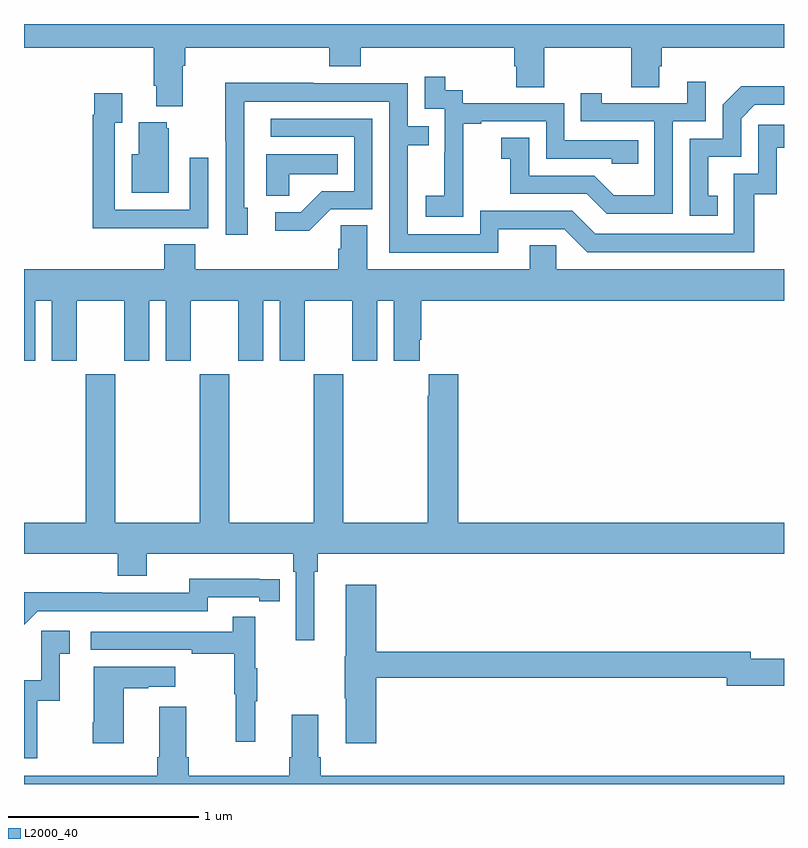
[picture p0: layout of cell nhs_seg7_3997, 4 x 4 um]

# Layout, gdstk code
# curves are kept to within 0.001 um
import gdstk
lib = gdstk.Library(unit=1e-6, precision=1e-09)
def P(c, l, *ps):  # polygons
    for p in ps: c.add(gdstk.Polygon(p, *l))
L2000_40 = (2000, 40)

nhs_seg7_3997 = lib.new_cell('nhs_seg7_3997')
P(nhs_seg7_3997, L2000_40, [(363,1073.876),(363.683,1073.876),(363.683,1073.674),(363.695,1073.674),(363.695,1073.567),(363.835,1073.567),(363.835,1073.78),(363.848,1073.78),(363.848,1073.876),(364.607,1073.876),(364.607,1073.777),(364.772,1073.777),(364.772,1073.876),(365.579,1073.876),(365.579,1073.778),(365.591,1073.778),(365.591,1073.668),(365.739,1073.668),(365.739,1073.876),(366.196,1073.876),(366.196,1073.668),(366.343,1073.668),(366.343,1073.778),(366.356,1073.778),(366.356,1073.876),(367,1073.876),(367,1074),(363,1074)],
  [(365.313,1073.191),(365.312,1073.191),(365.312,1073.475),(365.407,1073.475),(365.407,1073.487),(365.748,1073.487),(365.748,1073.292),(366.093,1073.292),(366.093,1073.265),(366.233,1073.265),(366.233,1073.388),(365.844,1073.388),(365.844,1073.583),(365.31,1073.583),(365.31,1073.652),(365.218,1073.652),(365.218,1073.722),(365.109,1073.722),(365.109,1073.553),(365.214,1073.553),(365.214,1073.324),(365.213,1073.324),(365.213,1073.095),(365.115,1073.095),(365.115,1072.985),(365.313,1072.985)],
  [(366.414,1073.487),(366.588,1073.487),(366.588,1073.695),(366.491,1073.695),(366.491,1073.583),(366.04,1073.583),(366.04,1073.635),(365.929,1073.635),(365.929,1073.487),(366.318,1073.487),(366.318,1073.098),(366.104,1073.098),(366,1073.202),(365.658,1073.202),(365.658,1073.401),(365.511,1073.401),(365.511,1073.291),(365.56,1073.291),(365.56,1073.106),(365.963,1073.106),(366.068,1073.001),(366.414,1073.001)],
  [(365.497,1072.92),(365.844,1072.92),(365.964,1072.8),(366.844,1072.8),(366.844,1073.103),(366.962,1073.103),(366.962,1073.349),(367,1073.349),(367,1073.47),(366.864,1073.47),(366.864,1073.211),(366.735,1073.211),(366.735,1072.896),(366.006,1072.896),(365.886,1073.016),(365.4,1073.016),(365.4,1072.893),(365.019,1072.893),(365.019,1073.362),(365.129,1073.362),(365.129,1073.463),(365.019,1073.463),(365.019,1073.688),(364.523,1073.688),(364.523,1073.69),(364.06,1073.69),(364.06,1073.383),(364.062,1073.383),(364.062,1072.89),(364.177,1072.89),(364.177,1073.034),(364.158,1073.034),(364.158,1073.592),(364.923,1073.592),(364.923,1072.797),(365.497,1072.797)],
  [(366.65,1073.097),(366.601,1073.097),(366.601,1073.301),(366.774,1073.301),(366.774,1073.502),(366.846,1073.574),(367,1073.574),(367,1073.672),(366.776,1073.672),(366.678,1073.574),(366.678,1073.397),(366.504,1073.397),(366.504,1072.992),(366.65,1072.992)],
  [(363.653,1072.926),(363.969,1072.926),(363.969,1073.296),(363.873,1073.296),(363.873,1073.022),(363.477,1073.022),(363.477,1073.479),(363.517,1073.479),(363.517,1073.635),(363.369,1073.635),(363.369,1073.522),(363.361,1073.522),(363.361,1072.925),(363.653,1072.925)],
  [(364.614,1073.025),(364.833,1073.025),(364.833,1073.502),(364.299,1073.502),(364.299,1073.406),(364.737,1073.406),(364.737,1073.121),(364.568,1073.121),(364.457,1073.01),(364.323,1073.01),(364.323,1072.913),(364.501,1072.913)],
  [(363.763,1073.451),(363.752,1073.451),(363.752,1073.482),(363.605,1073.482),(363.605,1073.314),(363.566,1073.314),(363.566,1073.111),(363.763,1073.111)],
  [(364.395,1073.21),(364.652,1073.21),(364.652,1073.314),(364.274,1073.314),(364.274,1073.095),(364.395,1073.095)],
  [(364.807,1072.94),(364.668,1072.94),(364.668,1072.817),(364.655,1072.817),(364.655,1072.708),(363.902,1072.708),(363.902,1072.841),(363.737,1072.841),(363.737,1072.708),(363,1072.708),(363,1072.227),(363.058,1072.227),(363.058,1072.544),(363.146,1072.544),(363.146,1072.227),(363.277,1072.227),(363.277,1072.544),(363.527,1072.544),(363.527,1072.227),(363.658,1072.227),(363.658,1072.544),(363.746,1072.544),(363.746,1072.227),(363.877,1072.227),(363.877,1072.544),(364.127,1072.544),(364.127,1072.227),(364.258,1072.227),(364.258,1072.544),(364.346,1072.544),(364.346,1072.227),(364.477,1072.227),(364.477,1072.544),(364.727,1072.544),(364.727,1072.227),(364.858,1072.227),(364.858,1072.544),(364.946,1072.544),(364.946,1072.227),(365.083,1072.227),(365.083,1072.339),(365.09,1072.339),(365.09,1072.544),(367,1072.544),(367,1072.708),(365.802,1072.708),(365.802,1072.835),(365.663,1072.835),(365.663,1072.708),(364.807,1072.708)],
  [(364.418,1071.116),(364.431,1071.116),(364.431,1070.757),(364.528,1070.757),(364.528,1071.116),(364.547,1071.116),(364.547,1071.212),(367,1071.212),(367,1071.376),(365.285,1071.376),(365.285,1072.156),(365.129,1072.156),(365.129,1072.043),(365.125,1072.043),(365.125,1071.376),(364.68,1071.376),(364.68,1072.156),(364.525,1072.156),(364.525,1071.376),(364.08,1071.376),(364.08,1072.156),(363.925,1072.156),(363.925,1071.376),(363.48,1071.376),(363.48,1072.156),(363.325,1072.156),(363.325,1071.376),(363,1071.376),(363,1071.212),(363.494,1071.212),(363.494,1071.095),(363.646,1071.095),(363.646,1071.212),(364.418,1071.212)],
  [(363.072,1070.91),(363.966,1070.91),(363.966,1070.982),(364.238,1070.982),(364.238,1070.962),(364.346,1070.962),(364.346,1071.078),(363.87,1071.079),(363.87,1071.006),(363.41,1071.006),(363.41,1071.008),(363.002,1071.008),(363,1071.006),(363,1070.838)],
  [(364.853,1070.56),(366.698,1070.56),(366.698,1070.518),(367,1070.518),(367,1070.66),(366.826,1070.66),(366.826,1070.696),(364.853,1070.696),(364.853,1071.049),(364.694,1071.049),(364.694,1070.673),(364.687,1070.673),(364.687,1070.452),(364.694,1070.452),(364.694,1070.214),(364.853,1070.214)],
  [(364.217,1070.435),(364.228,1070.435),(364.228,1070.609),(364.217,1070.609),(364.217,1070.881),(364.099,1070.881),(364.099,1070.802),(363.351,1070.802),(363.351,1070.706),(363.883,1070.706),(363.883,1070.686),(364.107,1070.686),(364.107,1070.472),(364.114,1070.472),(364.114,1070.223),(364.217,1070.223)],
  [(363.07,1070.439),(363.188,1070.439),(363.188,1070.685),(363.241,1070.685),(363.241,1070.806),(363.09,1070.806),(363.09,1070.547),(363,1070.547),(363,1070.136),(363.07,1070.136)],
  [(363.526,1070.503),(363.653,1070.503),(363.653,1070.513),(363.796,1070.513),(363.796,1070.617),(363.368,1070.617),(363.368,1070.326),(363.361,1070.326),(363.361,1070.214),(363.526,1070.214)],
  [(367,1070.044),(364.562,1070.044),(364.562,1070.14),(364.549,1070.14),(364.549,1070.365),(364.409,1070.365),(364.409,1070.14),(364.397,1070.14),(364.397,1070.044),(363.866,1070.044),(363.866,1070.14),(363.853,1070.14),(363.853,1070.407),(363.713,1070.407),(363.713,1070.14),(363.701,1070.14),(363.701,1070.044),(363,1070.044),(363,1070),(367,1070)])

lib.write_gds('nhs_seg7_3997.gds')
